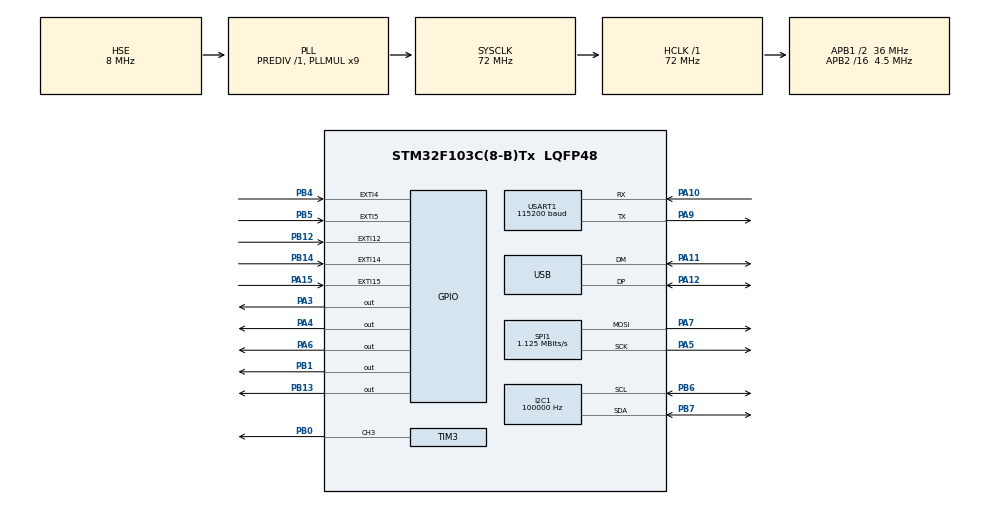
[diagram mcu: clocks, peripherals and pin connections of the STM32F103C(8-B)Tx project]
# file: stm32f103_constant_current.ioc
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Dma.Request0=USART1_RX
Dma.USART1_RX.0.Direction=DMA_PERIPH_TO_MEMORY
Dma.USART1_RX.0.Instance=DMA1_Channel5
Dma.USART1_RX.0.MemDataAlignment=DMA_MDATAALIGN_BYTE
Dma.USART1_RX.0.MemInc=DMA_MINC_ENABLE
Dma.USART1_RX.0.Mode=DMA_CIRCULAR
Dma.USART1_RX.0.PeriphDataAlignment=DMA_PDATAALIGN_BYTE
Dma.USART1_RX.0.PeriphInc=DMA_PINC_DISABLE
Dma.USART1_RX.0.Priority=DMA_PRIORITY_LOW
FREERTOS.Tasks01=defaultTask,-3,200,StartDefaultTask,Default,NULL,Dynamic,NULL,NULL;sysUpdateTask,1,80,StartSysUpdateTask,As external,NULL,Dynamic,NULL,NULL;guiDrawTask,-3,200,StartGUIDrawTask,As external,NULL,Dynamic,NULL,NULL;serialCmdTask,2,300,StartSerialCmdTask,As external,NULL,Dynamic,NULL,NULL;uiUpdateTask,-3,64,StartUIUpdateTask,As external,NULL,Dynamic,NULL,NULL;adcPollTask,1,64,StartAdcPollTask,As external,NULL,Dynamic,NULL,NULL
FREERTOS.Timers01=debouncingDispatchTimer,debounce_timer_callback,osTimerPeriodic,As external,NULL,Dynamic,NULL;encoderTimer,encoder_timer_callback,osTimerPeriodic,As external,NULL,Dynamic,NULL
FREERTOS.configMINIMAL_STACK_SIZE=64
FREERTOS.configTOTAL_HEAP_SIZE=7000
FREERTOS.configUSE_PORT_OPTIMISED_TASK_SELECTION=0
FREERTOS.configUSE_TIMERS=1
I2C1.ClockSpeed=100000
Mcu.Family=STM32F1
Mcu.Name=STM32F103C(8-B)Tx
Mcu.Package=LQFP48
Mcu.UserConstants=INCLUDE_uxTaskGetStackHighWaterMark,1
NVIC.DMA1_Channel5_IRQn=true\:5\:0\:false\:false\:true\:true\:false
NVIC.EXTI15_10_IRQn=true\:5\:0\:false\:false\:true\:true\:true
NVIC.EXTI4_IRQn=true\:5\:0\:false\:false\:true\:true\:true
NVIC.EXTI9_5_IRQn=true\:5\:0\:false\:false\:true\:true\:true
NVIC.PriorityGroup=NVIC_PRIORITYGROUP_4
NVIC.TIM1_UP_IRQn=true\:0\:0\:false\:false\:true\:false\:true
NVIC.TimeBase=TIM1_UP_IRQn
NVIC.TimeBaseIP=TIM1
NVIC.USB_LP_CAN1_RX0_IRQn=true\:5\:0\:false\:false\:true\:true\:false
PA10.Mode=Asynchronous
PA10.Signal=USART1_RX
PA11.Mode=Device
PA11.Signal=USB_DM
PA12.Mode=Device
PA12.Signal=USB_DP
PA13.Mode=Serial_Wire
PA13.Signal=SYS_JTMS-SWDIO
PA14.Mode=Serial_Wire
PA14.Signal=SYS_JTCK-SWCLK
PA15.GPIO_PuPd=GPIO_PULLUP
PA15.Signal=GPXTI15
PA3.Signal=GPIO_Output
PA4.Signal=GPIO_Output
PA5.Mode=TX_Only_Simplex_Unidirect_Master
PA5.Signal=SPI1_SCK
PA6.PinState=GPIO_PIN_RESET
PA6.Signal=GPIO_Output
PA7.Mode=TX_Only_Simplex_Unidirect_Master
PA7.Signal=SPI1_MOSI
PA9.Mode=Asynchronous
PA9.Signal=USART1_TX
PB0.GPIO_Speed=GPIO_SPEED_FREQ_LOW
PB0.Signal=S_TIM3_CH3
PB1.Signal=GPIO_Output
PB12.GPIO_PuPd=GPIO_PULLUP
PB12.Signal=GPXTI12
PB13.Signal=GPIO_Output
PB14.GPIO_ModeDefaultEXTI=GPIO_MODE_IT_FALLING
PB14.GPIO_PuPd=GPIO_PULLUP
PB14.Signal=GPXTI14
PB4.GPIO_ModeDefaultEXTI=GPIO_MODE_IT_RISING_FALLING
PB4.GPIO_PuPd=GPIO_PULLUP
PB4.Signal=GPXTI4
PB5.GPIO_PuPd=GPIO_PULLUP
PB5.Signal=GPXTI5
PB6.Mode=I2C
PB6.Signal=I2C1_SCL
PB7.Mode=I2C
PB7.Signal=I2C1_SDA
PD0-OSC_IN.Mode=HSE-External-Oscillator
PD0-OSC_IN.Signal=RCC_OSC_IN
PD1-OSC_OUT.Mode=HSE-External-Oscillator
PD1-OSC_OUT.Signal=RCC_OSC_OUT
ProjectManager.HeapSize=0x600
ProjectManager.StackSize=0x800
ProjectManager.TargetToolchain=Makefile
RCC.ADCPresc=RCC_ADCPCLK2_DIV8
RCC.AHBFreq_Value=72000000
RCC.APB1CLKDivider=RCC_HCLK_DIV2
RCC.APB1Freq_Value=36000000
RCC.APB1TimFreq_Value=72000000
RCC.APB2CLKDivider=RCC_HCLK_DIV16
RCC.APB2Freq_Value=4500000
RCC.APB2TimFreq_Value=9000000
RCC.HCLKFreq_Value=72000000
RCC.PLLMUL=RCC_PLL_MUL9
RCC.PLLSourceVirtual=RCC_PLLSOURCE_HSE
RCC.RCC_MCOSource=RCC_MCO1SOURCE_HSE
RCC.SYSCLKFreq_VALUE=72000000
RCC.SYSCLKSource=RCC_SYSCLKSOURCE_PLLCLK
RCC.USBFreq_Value=48000000
RCC.USBPrescaler=RCC_USBCLKSOURCE_PLL_DIV1_5
SH.S_TIM3_CH3.0=TIM3_CH3,PWM Generation3 CH3
SPI1.BaudRatePrescaler=SPI_BAUDRATEPRESCALER_4
SPI1.CLKPhase=SPI_PHASE_2EDGE
SPI1.CLKPolarity=SPI_POLARITY_HIGH
SPI1.CalculateBaudRate=1.125 MBits/s
SPI1.Direction=SPI_DIRECTION_2LINES
SPI1.Mode=SPI_MODE_MASTER
SPI1.VirtualType=VM_MASTER
TIM3.Channel-PWM\ Generation3\ CH3=TIM_CHANNEL_3
TIM3.CounterMode=TIM_COUNTERMODE_CENTERALIGNED1
TIM3.Period=1000-1
TIM3.Prescaler=70-1
USART1.BaudRate=115200
USART1.Mode=MODE_TX_RX
USART1.VirtualMode=VM_ASYNC
USB.ep0_mps=DEP0CTL_MPS_64
USB_DEVICE.CLASS_NAME_FS=CDC
USB_DEVICE.VirtualMode=Cdc
USB_DEVICE.VirtualModeFS=Cdc_FS
VP_FREERTOS_VS_ENABLE.Mode=Enabled
VP_SYS_VS_tim1.Mode=TIM1
VP_USB_DEVICE_VS_USB_DEVICE_CDC_FS.Mode=CDC_FS
board=stm32f103_constant_current

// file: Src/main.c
/**
  ******************************************************************************
  * @file           : main.c
  * @brief          : Main program body
  ******************************************************************************
  * This notice applies to any and all portions of this file
  * that are not between comment pairs USER CODE BEGIN and
  * USER CODE END. Other portions of this file, whether
  * inserted by the user or by software development tools
  * are owned by their respective copyright owners.
  *
  * Copyright (c) 2018 STMicroelectronics International N.V.
  * All rights reserved.
  *
  * Redistribution and use in source and binary forms, with or without
  * modification, are permitted, provided that the following conditions are met:
  *
  * 1. Redistribution of source code must retain the above copyright notice,
  *    this list of conditions and the following disclaimer.
  * 2. Redistributions in binary form must reproduce the above copyright notice,
  *    this list of conditions and the following disclaimer in the documentation
  *    and/or other materials provided with the distribution.
  * 3. Neither the name of STMicroelectronics nor the names of other
  *    contributors to this software may be used to endorse or promote products
  *    derived from this software without specific written permission.
  * 4. This software, including modifications and/or derivative works of this
  *    software, must execute solely and exclusively on microcontroller or
  *    microprocessor devices manufactured by or for STMicroelectronics.
  * 5. Redistribution and use of this software other than as permitted under
  *    this license is void and will automatically terminate your rights under
  *    this license.
  *
  * THIS SOFTWARE IS PROVIDED BY STMICROELECTRONICS AND CONTRIBUTORS "AS IS"
  * AND ANY EXPRESS, IMPLIED OR STATUTORY WARRANTIES, INCLUDING, BUT NOT
  * LIMITED TO, THE IMPLIED WARRANTIES OF MERCHANTABILITY, FITNESS FOR A
  * PARTICULAR PURPOSE AND NON-INFRINGEMENT OF THIRD PARTY INTELLECTUAL PROPERTY
  * RIGHTS ARE DISCLAIMED TO THE FULLEST EXTENT PERMITTED BY LAW. IN NO EVENT
  * SHALL STMICROELECTRONICS OR CONTRIBUTORS BE LIABLE FOR ANY DIRECT, INDIRECT,
  * INCIDENTAL, SPECIAL, EXEMPLARY, OR CONSEQUENTIAL DAMAGES (INCLUDING, BUT NOT
  * LIMITED TO, PROCUREMENT OF SUBSTITUTE GOODS OR SERVICES; LOSS OF USE, DATA,
  * OR PROFITS; OR BUSINESS INTERRUPTION) HOWEVER CAUSED AND ON ANY THEORY OF
  * LIABILITY, WHETHER IN CONTRACT, STRICT LIABILITY, OR TORT (INCLUDING
  * NEGLIGENCE OR OTHERWISE) ARISING IN ANY WAY OUT OF THE USE OF THIS SOFTWARE,
  * EVEN IF ADVISED OF THE POSSIBILITY OF SUCH DAMAGE.
  *
  ******************************************************************************
  */
#include "main.h"
#include "stm32f1xx_hal.h"
#include "cmsis_os.h"
#include "usb_device.h"

/* USER CODE BEGIN Includes */
#include "application.h"

/* USER CODE END Includes */

I2C_HandleTypeDef hi2c1;

SPI_HandleTypeDef hspi1;

TIM_HandleTypeDef htim3;

UART_HandleTypeDef huart1;
DMA_HandleTypeDef hdma_usart1_rx;

osThreadId defaultTaskHandle;
osThreadId sysUpdateTaskHandle;
osThreadId guiDrawTaskHandle;
osThreadId serialCmdTaskHandle;
osThreadId uiUpdateTaskHandle;
osThreadId adcPollTaskHandle;
osTimerId debouncingDispatchTimerHandle;
osTimerId encoderTimerHandle;

/* USER CODE BEGIN PV */
/* Private variables ---------------------------------------------------------*/
osMailQId SYS_UPDATE_MAILBOX_ID;
osMailQId UI_UPDATE_MAILBOX_ID;
osMailQId SERCMD_UPDATE_MAILBOX_ID;
#ifdef INCLUDE_uxTaskGetStackHighWaterMark
UBaseType_t DefaultTask_Watermark;
#endif
/* USER CODE END PV */

void SystemClock_Config(void);
static void MX_GPIO_Init(void);
static void MX_DMA_Init(void);
static void MX_SPI1_Init(void);
static void MX_I2C1_Init(void);
static void MX_TIM3_Init(void);
static void MX_USART1_UART_Init(void);
void StartDefaultTask(void const * argument);
extern void StartSysUpdateTask(void const * argument);
extern void StartGUIDrawTask(void const * argument);
extern void StartSerialCmdTask(void const * argument);
extern void StartUIUpdateTask(void const * argument);
extern void StartAdcPollTask(void const * argument);
extern void debounce_timer_callback(void const * argument);
extern void encoder_timer_callback(void const * argument);

void HAL_TIM_MspPostInit(TIM_HandleTypeDef *htim);

/* USER CODE BEGIN PFP */
/* Private function prototypes -----------------------------------------------*/

/* USER CODE END PFP */

int main(void)
{

  /* MCU Configuration----------------------------------------------------------*/

  /* Reset of all peripherals, Initializes the Flash interface and the Systick. */
  HAL_Init();

  /* Configure the system clock */
  SystemClock_Config();

  /* Initialize all configured peripherals */
  MX_GPIO_Init();
  MX_DMA_Init();
  MX_SPI1_Init();
  MX_I2C1_Init();
  MX_TIM3_Init();
  MX_USART1_UART_Init();

  /* Create the timer(s) */
  /* definition and creation of debouncingDispatchTimer */
  osTimerDef(debouncingDispatchTimer, debounce_timer_callback);
  debouncingDispatchTimerHandle = osTimerCreate(osTimer(debouncingDispatchTimer), osTimerPeriodic, NULL);

  /* definition and creation of encoderTimer */
  osTimerDef(encoderTimer, encoder_timer_callback);
  encoderTimerHandle = osTimerCreate(osTimer(encoderTimer), osTimerPeriodic, NULL);

  /* USER CODE BEGIN RTOS_TIMERS */
  /* start timers, add new ones, ... */
	osTimerStart(encoderTimerHandle, 200);

	TIM_OC_InitTypeDef sConfigOC;

	sConfigOC.OCMode = TIM_OCMODE_PWM1;
	sConfigOC.Pulse = 1999;
	sConfigOC.OCPolarity = TIM_OCPOLARITY_HIGH;
	sConfigOC.OCFastMode = TIM_OCFAST_DISABLE;
	HAL_TIM_PWM_ConfigChannel(&htim3, &sConfigOC, TIM_CHANNEL_3);
	HAL_TIM_PWM_Start(&htim3, TIM_CHANNEL_3);
	if (DWT_Delay_Init()) {
		Error_Handler(); /* Call Error Handler */
	}
//	HAL_TIM_Base_Start_IT(&htim2);
//	HAL_TIM_Base_Start(&htim2);

  /* USER CODE END RTOS_TIMERS */

  /* Create the thread(s) */
  /* definition and creation of defaultTask */
  osThreadDef(defaultTask, StartDefaultTask, osPriorityIdle, 0, 200);
  defaultTaskHandle = osThreadCreate(osThread(defaultTask), NULL);

  /* definition and creation of sysUpdateTask */
  osThreadDef(sysUpdateTask, StartSysUpdateTask, osPriorityAboveNormal, 0, 80);
  sysUpdateTaskHandle = osThreadCreate(osThread(sysUpdateTask), NULL);

  /* definition and creation of guiDrawTask */
  osThreadDef(guiDrawTask, StartGUIDrawTask, osPriorityIdle, 0, 200);
  guiDrawTaskHandle = osThreadCreate(osThread(guiDrawTask), NULL);

  /* definition and creation of serialCmdTask */
  osThreadDef(serialCmdTask, StartSerialCmdTask, osPriorityHigh, 0, 300);
  serialCmdTaskHandle = osThreadCreate(osThread(serialCmdTask), NULL);

  /* definition and creation of uiUpdateTask */
  osThreadDef(uiUpdateTask, StartUIUpdateTask, osPriorityIdle, 0, 64);
  uiUpdateTaskHandle = osThreadCreate(osThread(uiUpdateTask), NULL);

  /* definition and creation of adcPollTask */
  osThreadDef(adcPollTask, StartAdcPollTask, osPriorityAboveNormal, 0, 64);
  adcPollTaskHandle = osThreadCreate(osThread(adcPollTask), NULL);

  /* USER CODE BEGIN RTOS_QUEUES */
  /* add queues, ... */
  osMailQDef(SYS_UPDATE_MAILBOX, SYS_UPDATE_MAIL_SIZE, T_SYSTEM_UPDATE);
  SYS_UPDATE_MAILBOX_ID = osMailCreate(osMailQ(SYS_UPDATE_MAILBOX), NULL);

  osMailQDef(UI_UPDATE_MAILBOX, SYS_UPDATE_MAIL_SIZE, T_SYSTEM_UPDATE);
  UI_UPDATE_MAILBOX_ID = osMailCreate(osMailQ(UI_UPDATE_MAILBOX), NULL);

  osMailQDef(SERCMD_UPDATE_MAILBOX, SYS_UPDATE_MAIL_SIZE, T_SERCMD_UPDATE);
  SERCMD_UPDATE_MAILBOX_ID = osMailCreate(osMailQ(SERCMD_UPDATE_MAILBOX), NULL);

  /* USER CODE END RTOS_QUEUES */

  /* Start scheduler */
  osKernelStart();

  /* We should never get here as control is now taken by the scheduler */

  /* Infinite loop */
  while (1)
  {

  }

}

void SystemClock_Config(void)
{

  RCC_OscInitTypeDef RCC_OscInitStruct;
  RCC_ClkInitTypeDef RCC_ClkInitStruct;
  RCC_PeriphCLKInitTypeDef PeriphClkInit;

    /**Initializes the CPU, AHB and APB busses clocks
    */
  RCC_OscInitStruct.OscillatorType = RCC_OSCILLATORTYPE_HSE;
  RCC_OscInitStruct.HSEState = RCC_HSE_ON;
  RCC_OscInitStruct.HSEPredivValue = RCC_HSE_PREDIV_DIV1;
  RCC_OscInitStruct.HSIState = RCC_HSI_ON;
  RCC_OscInitStruct.PLL.PLLState = RCC_PLL_ON;
  RCC_OscInitStruct.PLL.PLLSource = RCC_PLLSOURCE_HSE;
  RCC_OscInitStruct.PLL.PLLMUL = RCC_PLL_MUL9;
  if (HAL_RCC_OscConfig(&RCC_OscInitStruct) != HAL_OK)
  {
    _Error_Handler(__FILE__, __LINE__);
  }

    /**Initializes the CPU, AHB and APB busses clocks
    */
  RCC_ClkInitStruct.ClockType = RCC_CLOCKTYPE_HCLK|RCC_CLOCKTYPE_SYSCLK
                              |RCC_CLOCKTYPE_PCLK1|RCC_CLOCKTYPE_PCLK2;
  RCC_ClkInitStruct.SYSCLKSource = RCC_SYSCLKSOURCE_PLLCLK;
  RCC_ClkInitStruct.AHBCLKDivider = RCC_SYSCLK_DIV1;
  RCC_ClkInitStruct.APB1CLKDivider = RCC_HCLK_DIV2;
  RCC_ClkInitStruct.APB2CLKDivider = RCC_HCLK_DIV16;

  if (HAL_RCC_ClockConfig(&RCC_ClkInitStruct, FLASH_LATENCY_2) != HAL_OK)
  {
    _Error_Handler(__FILE__, __LINE__);
  }

  PeriphClkInit.PeriphClockSelection = RCC_PERIPHCLK_USB;
  PeriphClkInit.UsbClockSelection = RCC_USBCLKSOURCE_PLL_DIV1_5;
  if (HAL_RCCEx_PeriphCLKConfig(&PeriphClkInit) != HAL_OK)
  {
    _Error_Handler(__FILE__, __LINE__);
  }

    /**Configure the Systick interrupt time
    */
  HAL_SYSTICK_Config(HAL_RCC_GetHCLKFreq()/1000);

    /**Configure the Systick
    */
  HAL_SYSTICK_CLKSourceConfig(SYSTICK_CLKSOURCE_HCLK);

  /* SysTick_IRQn interrupt configuration */
  HAL_NVIC_SetPriority(SysTick_IRQn, 15, 0);
}

/* I2C1 init function */
static void MX_I2C1_Init(void)
{

  hi2c1.Instance = I2C1;
  hi2c1.Init.ClockSpeed = 100000;
  hi2c1.Init.DutyCycle = I2C_DUTYCYCLE_2;
  hi2c1.Init.OwnAddress1 = 0;
  hi2c1.Init.AddressingMode = I2C_ADDRESSINGMODE_7BIT;
  hi2c1.Init.DualAddressMode = I2C_DUALADDRESS_DISABLE;
  hi2c1.Init.OwnAddress2 = 0;
  hi2c1.Init.GeneralCallMode = I2C_GENERALCALL_DISABLE;
  hi2c1.Init.NoStretchMode = I2C_NOSTRETCH_DISABLE;
  if (HAL_I2C_Init(&hi2c1) != HAL_OK)
  {
    _Error_Handler(__FILE__, __LINE__);
  }

}

/* SPI1 init function */
static void MX_SPI1_Init(void)
{

  /* SPI1 parameter configuration*/
  hspi1.Instance = SPI1;
  hspi1.Init.Mode = SPI_MODE_MASTER;
  hspi1.Init.Direction = SPI_DIRECTION_2LINES;
  hspi1.Init.DataSize = SPI_DATASIZE_8BIT;
  hspi1.Init.CLKPolarity = SPI_POLARITY_HIGH;
  hspi1.Init.CLKPhase = SPI_PHASE_2EDGE;
  hspi1.Init.NSS = SPI_NSS_SOFT;
  hspi1.Init.BaudRatePrescaler = SPI_BAUDRATEPRESCALER_4;
  hspi1.Init.FirstBit = SPI_FIRSTBIT_MSB;
  hspi1.Init.TIMode = SPI_TIMODE_DISABLE;
  hspi1.Init.CRCCalculation = SPI_CRCCALCULATION_DISABLE;
  hspi1.Init.CRCPolynomial = 10;
  if (HAL_SPI_Init(&hspi1) != HAL_OK)
  {
    _Error_Handler(__FILE__, __LINE__);
  }

}

/* TIM3 init function */
static void MX_TIM3_Init(void)
{

  TIM_MasterConfigTypeDef sMasterConfig;
  TIM_OC_InitTypeDef sConfigOC;

  htim3.Instance = TIM3;
  htim3.Init.Prescaler = 70-1;
  htim3.Init.CounterMode = TIM_COUNTERMODE_CENTERALIGNED1;
  htim3.Init.Period = 1000-1;
  htim3.Init.ClockDivision = TIM_CLOCKDIVISION_DIV1;
  htim3.Init.AutoReloadPreload = TIM_AUTORELOAD_PRELOAD_DISABLE;
  if (HAL_TIM_PWM_Init(&htim3) != HAL_OK)
  {
    _Error_Handler(__FILE__, __LINE__);
  }

  sMasterConfig.MasterOutputTrigger = TIM_TRGO_RESET;
  sMasterConfig.MasterSlaveMode = TIM_MASTERSLAVEMODE_DISABLE;
  if (HAL_TIMEx_MasterConfigSynchronization(&htim3, &sMasterConfig) != HAL_OK)
  {
    _Error_Handler(__FILE__, __LINE__);
  }

  sConfigOC.OCMode = TIM_OCMODE_PWM1;
  sConfigOC.Pulse = 0;
  sConfigOC.OCPolarity = TIM_OCPOLARITY_HIGH;
  sConfigOC.OCFastMode = TIM_OCFAST_DISABLE;
  if (HAL_TIM_PWM_ConfigChannel(&htim3, &sConfigOC, TIM_CHANNEL_3) != HAL_OK)
  {
    _Error_Handler(__FILE__, __LINE__);
  }

  HAL_TIM_MspPostInit(&htim3);

}

/* USART1 init function */
static void MX_USART1_UART_Init(void)
{

  huart1.Instance = USART1;
  huart1.Init.BaudRate = 115200;
  huart1.Init.WordLength = UART_WORDLENGTH_8B;
  huart1.Init.StopBits = UART_STOPBITS_1;
  huart1.Init.Parity = UART_PARITY_NONE;
  huart1.Init.Mode = UART_MODE_TX_RX;
  huart1.Init.HwFlowCtl = UART_HWCONTROL_NONE;
  huart1.Init.OverSampling = UART_OVERSAMPLING_16;
  if (HAL_UART_Init(&huart1) != HAL_OK)
  {
    _Error_Handler(__FILE__, __LINE__);
  }

}

static void MX_DMA_Init(void)
{
  /* DMA controller clock enable */
  __HAL_RCC_DMA1_CLK_ENABLE();

  /* DMA interrupt init */
  /* DMA1_Channel5_IRQn interrupt configuration */
  HAL_NVIC_SetPriority(DMA1_Channel5_IRQn, 5, 0);
  HAL_NVIC_EnableIRQ(DMA1_Channel5_IRQn);

}

/** Configure pins as
        * Analog
        * Input
        * Output
        * EVENT_OUT
        * EXTI
        * Free pins are configured automatically as Analog (this feature is enabled through
        * the Code Generation settings)
*/
static void MX_GPIO_Init(void)
{

  GPIO_InitTypeDef GPIO_InitStruct;

  /* GPIO Ports Clock Enable */
  __HAL_RCC_GPIOC_CLK_ENABLE();
  __HAL_RCC_GPIOD_CLK_ENABLE();
  __HAL_RCC_GPIOA_CLK_ENABLE();
  __HAL_RCC_GPIOB_CLK_ENABLE();

  /*Configure GPIO pin Output Level */
  HAL_GPIO_WritePin(GPIOA, GPIO_PIN_3|GPIO_PIN_4|GPIO_PIN_6, GPIO_PIN_RESET);

  /*Configure GPIO pin Output Level */
  HAL_GPIO_WritePin(GPIOB, GPIO_PIN_1|GPIO_PIN_13, GPIO_PIN_RESET);

  /*Configure GPIO pins : PC13 PC14 PC15 */
  GPIO_InitStruct.Pin = GPIO_PIN_13|GPIO_PIN_14|GPIO_PIN_15;
  GPIO_InitStruct.Mode = GPIO_MODE_ANALOG;
  HAL_GPIO_Init(GPIOC, &GPIO_InitStruct);

  /*Configure GPIO pins : PA0 PA1 PA2 PA8 */
  GPIO_InitStruct.Pin = GPIO_PIN_0|GPIO_PIN_1|GPIO_PIN_2|GPIO_PIN_8;
  GPIO_InitStruct.Mode = GPIO_MODE_ANALOG;
  HAL_GPIO_Init(GPIOA, &GPIO_InitStruct);

  /*Configure GPIO pins : PA3 PA4 PA6 */
  GPIO_InitStruct.Pin = GPIO_PIN_3|GPIO_PIN_4|GPIO_PIN_6;
  GPIO_InitStruct.Mode = GPIO_MODE_OUTPUT_PP;
  GPIO_InitStruct.Speed = GPIO_SPEED_FREQ_LOW;
  HAL_GPIO_Init(GPIOA, &GPIO_InitStruct);

  /*Configure GPIO pins : PB1 PB13 */
  GPIO_InitStruct.Pin = GPIO_PIN_1|GPIO_PIN_13;
  GPIO_InitStruct.Mode = GPIO_MODE_OUTPUT_PP;
  GPIO_InitStruct.Speed = GPIO_SPEED_FREQ_LOW;
  HAL_GPIO_Init(GPIOB, &GPIO_InitStruct);

  /*Configure GPIO pins : PB2 PB10 PB11 PB15
                           PB3 PB8 PB9 */
  GPIO_InitStruct.Pin = GPIO_PIN_2|GPIO_PIN_10|GPIO_PIN_11|GPIO_PIN_15
                          |GPIO_PIN_3|GPIO_PIN_8|GPIO_PIN_9;
  GPIO_InitStruct.Mode = GPIO_MODE_ANALOG;
  HAL_GPIO_Init(GPIOB, &GPIO_InitStruct);

  /*Configure GPIO pins : PB12 PB5 */
  GPIO_InitStruct.Pin = GPIO_PIN_12|GPIO_PIN_5;
  GPIO_InitStruct.Mode = GPIO_MODE_IT_RISING;
  GPIO_InitStruct.Pull = GPIO_PULLUP;
  HAL_GPIO_Init(GPIOB, &GPIO_InitStruct);

  /*Configure GPIO pin : PB14 */
  GPIO_InitStruct.Pin = GPIO_PIN_14;
  GPIO_InitStruct.Mode = GPIO_MODE_IT_FALLING;
  GPIO_InitStruct.Pull = GPIO_PULLUP;
  HAL_GPIO_Init(GPIOB, &GPIO_InitStruct);

  /*Configure GPIO pin : PA15 */
  GPIO_InitStruct.Pin = GPIO_PIN_15;
  GPIO_InitStruct.Mode = GPIO_MODE_IT_RISING;
  GPIO_InitStruct.Pull = GPIO_PULLUP;
  HAL_GPIO_Init(GPIOA, &GPIO_InitStruct);

  /*Configure GPIO pin : PB4 */
  GPIO_InitStruct.Pin = GPIO_PIN_4;
  GPIO_InitStruct.Mode = GPIO_MODE_IT_RISING_FALLING;
  GPIO_InitStruct.Pull = GPIO_PULLUP;
  HAL_GPIO_Init(GPIOB, &GPIO_InitStruct);

  /* EXTI interrupt init*/
  HAL_NVIC_SetPriority(EXTI4_IRQn, 5, 0);
  HAL_NVIC_EnableIRQ(EXTI4_IRQn);

  HAL_NVIC_SetPriority(EXTI9_5_IRQn, 5, 0);
  HAL_NVIC_EnableIRQ(EXTI9_5_IRQn);

  HAL_NVIC_SetPriority(EXTI15_10_IRQn, 5, 0);
  HAL_NVIC_EnableIRQ(EXTI15_10_IRQn);

}

/* USER CODE BEGIN 4 */
static int old_tick = 0;
static int new_tick = 0;
float value;
int counter;
/* USER CODE END 4 */

/* StartDefaultTask function */
void StartDefaultTask(void const * argument)
{
  /* init code for USB_DEVICE */
  MX_USB_DEVICE_Init();

  /* USER CODE BEGIN 5 */
	Application.configure();
	while (1)
	{
//		HAL_GPIO_TogglePin(GPIOA, GPIO_PIN_3);
//		HAL_Delay(5000);
//		HAL_GPIO_TogglePin(GPIOA, GPIO_PIN_3);
		// Don't clear bits on entry., Clear all bits on exit., Stores the notified value.
//		osThreadYield();
//		counter = __HAL_TIM_GetCounter(&htim2);
//		char textbuf[12];
//		int delta = (new_tick - old_tick);
//		if (delta > 0)
//		{
//			value = ((float)htim2.Init.Period / delta);///1.63805;
//			snprintf(textbuf, 11, "%0.2f", value);
//			SerialCommand.echo(textbuf, strlen(textbuf));
//		}
#ifdef INCLUDE_uxTaskGetStackHighWaterMark
	DefaultTask_Watermark = uxTaskGetStackHighWaterMark(NULL);
#endif
	xTaskNotifyWait(pdFALSE, ULONG_MAX, NULL, osWaitForever);
	}

  /* USER CODE END 5 */
}

void HAL_TIM_PeriodElapsedCallback(TIM_HandleTypeDef *htim)
{
  if (htim->Instance == TIM1) {
    HAL_IncTick();
  }
  /* USER CODE BEGIN Callback 1 */
	if (htim->Instance == TIM2) {
		old_tick = new_tick;
		new_tick = HAL_GetTick();
	}
  /* USER CODE END Callback 1 */
}

void _Error_Handler(char *file, int line)
{
  while(1)
  {
  }
}

/************************ (C) COPYRIGHT STMicroelectronics *****END OF FILE****/
